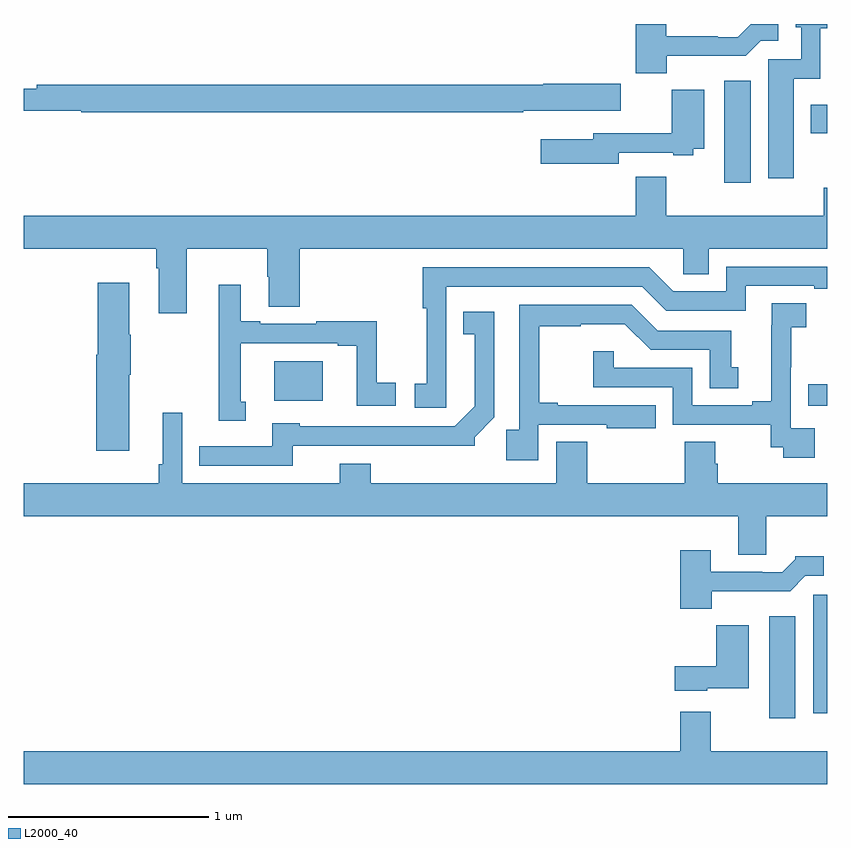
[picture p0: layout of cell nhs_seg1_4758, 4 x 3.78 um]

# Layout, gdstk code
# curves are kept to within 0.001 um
import gdstk
lib = gdstk.Library(unit=1e-6, precision=1e-09)
def R(c, l, rs):  # rectangles x0, y0, x1, y1
    for r in rs: c.add(gdstk.rectangle(r[:2], r[2:], *l))
def P(c, l, *ps):  # polygons
    for p in ps: c.add(gdstk.Polygon(p, *l))
L2000_40 = (2000, 40)

nhs_seg1_4758 = lib.new_cell('nhs_seg1_4758')
R(nhs_seg1_4758, L2000_40, [(372.71,534.744,372.841,535.252), (372.929,534.768,373,535.359), (372.904,536.298,373,536.407), (370.247,536.324,370.489,536.521), (372.488,537.408,372.619,537.916), (372.917,537.656,373,537.796)])
P(nhs_seg1_4758, L2000_40, [(372.832,537.926),(372.966,537.926),(372.966,538.178),(373,538.178),(373,538.199),(372.842,538.199),(372.842,538.182),(372.87,538.182),(372.87,538.023),(372.707,538.023),(372.707,537.432),(372.832,537.432)],
  [(372.202,538.04),(372.593,538.04),(372.669,538.116),(372.757,538.116),(372.757,538.199),(372.618,538.199),(372.554,538.134),(372.455,538.134),(372.455,538.137),(372.199,538.137),(372.199,538.199),(372.047,538.199),(372.047,537.953),(372.202,537.953)],
  [(371.486,537.767),(371.971,537.767),(371.971,537.902),(371.586,537.902),(371.586,537.896),(369.064,537.896),(369.064,537.877),(369,537.877),(369,537.768),(369.286,537.768),(369.286,537.76),(371.486,537.76)],
  [(371.962,537.558),(372.233,537.558),(372.233,537.546),(372.333,537.546),(372.333,537.578),(372.388,537.578),(372.388,537.871),(372.226,537.871),(372.226,537.654),(371.834,537.654),(371.834,537.625),(371.574,537.625),(371.574,537.503),(371.962,537.503)],
  [(369.811,537.08),(370.213,537.08),(370.213,536.942),(370.22,536.942),(370.22,536.791),(370.373,536.791),(370.373,537.08),(372.282,537.08),(372.282,536.953),(372.409,536.953),(372.409,537.08),(373,537.08),(373,537.385),(372.983,537.385),(372.983,537.244),(372.199,537.244),(372.199,537.439),(372.047,537.439),(372.047,537.244),(369,537.244),(369,537.08),(369.659,537.08),(369.659,536.984),(369.671,536.984),(369.671,536.76),(369.811,536.76)],
  [(371.104,536.564),(371.103,536.892),(372.078,536.892),(372.198,536.772),(372.594,536.772),(372.594,536.895),(372.935,536.895),(372.935,536.88),(373,536.88),(373,536.991),(372.498,536.991),(372.498,536.868),(372.234,536.868),(372.114,536.988),(370.987,536.988),(370.987,536.785),(371.005,536.785),(371.005,536.409),(370.947,536.409),(370.947,536.289),(371.104,536.289)],
  [(369.526,536.453),(369.534,536.453),(369.534,536.653),(369.526,536.653),(369.526,536.911),(369.368,536.911),(369.368,536.553),(369.362,536.553),(369.362,536.076),(369.526,536.076)],
  [(370.105,536.319),(370.081,536.319),(370.081,536.61),(370.562,536.61),(370.562,536.598),(370.658,536.598),(370.658,536.298),(370.852,536.298),(370.852,536.414),(370.758,536.414),(370.758,536.719),(370.456,536.719),(370.456,536.706),(370.177,536.706),(370.177,536.719),(370.081,536.719),(370.081,536.902),(369.971,536.902),(369.971,536.657),(369.972,536.657),(369.972,536.225),(370.105,536.225)],
  [(372.937,536.187),(372.819,536.187),(372.819,536.491),(372.821,536.491),(372.821,536.689),(372.895,536.689),(372.895,536.81),(372.724,536.81),(372.724,536.699),(372.722,536.699),(372.722,536.321),(372.626,536.321),(372.626,536.301),(372.327,536.301),(372.327,536.487),(371.937,536.487),(371.937,536.569),(371.836,536.569),(371.836,536.391),(372.231,536.391),(372.231,536.205),(372.718,536.205),(372.718,536.091),(372.781,536.091),(372.781,536.04),(372.937,536.04)],
  [(371.562,536.205),(371.903,536.205),(371.903,536.186),(372.146,536.186),(372.146,536.301),(371.659,536.301),(371.659,536.314),(371.567,536.314),(371.567,536.694),(371.774,536.694),(371.774,536.705),(371.992,536.705),(372.12,536.577),(372.416,536.577),(372.416,536.386),(372.556,536.386),(372.556,536.49),(372.523,536.49),(372.523,536.673),(372.156,536.673),(372.027,536.802),(371.466,536.802),(371.466,536.179),(371.401,536.179),(371.401,536.028),(371.562,536.028)],
  [(370.338,536.1),(371.244,536.099),(371.244,536.143),(371.343,536.242),(371.343,536.767),(371.188,536.767),(371.188,536.654),(371.246,536.654),(371.246,536.297),(371.145,536.196),(370.374,536.196),(370.374,536.212),(370.238,536.212),(370.238,536.097),(369.874,536.097),(369.874,536.001),(370.338,536.001)],
  [(372.697,535.748),(373,535.748),(373,535.912),(372.455,535.912),(372.455,536.01),(372.442,536.01),(372.442,536.12),(372.29,536.12),(372.29,535.912),(371.804,535.912),(371.804,536.12),(371.651,536.12),(371.651,535.912),(370.727,535.912),(370.727,536.011),(370.574,536.011),(370.574,535.912),(369.789,535.912),(369.789,536.263),(369.692,536.263),(369.692,536.008),(369.673,536.008),(369.673,535.912),(369,535.912),(369,535.748),(372.557,535.748),(372.557,535.558),(372.697,535.558)],
  [(372.424,535.376),(372.815,535.376),(372.891,535.452),(372.982,535.452),(372.982,535.549),(372.84,535.549),(372.84,535.534),(372.776,535.47),(372.677,535.47),(372.677,535.473),(372.421,535.473),(372.421,535.579),(372.269,535.579),(372.269,535.289),(372.424,535.289)],
  [(372.402,534.893),(372.61,534.893),(372.61,535.207),(372.448,535.207),(372.448,535.003),(372.24,535.003),(372.24,534.881),(372.402,534.881)],
  [(373,534.58),(372.421,534.58),(372.421,534.775),(372.269,534.775),(372.269,534.58),(369,534.58),(369,534.416),(373,534.416)])

lib.write_gds('nhs_seg1_4758.gds')
